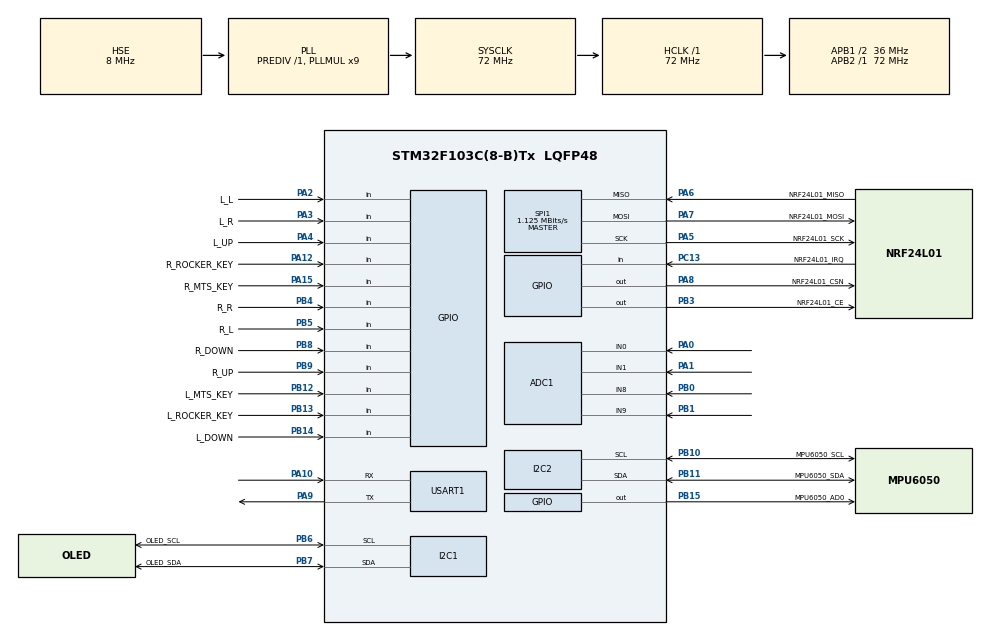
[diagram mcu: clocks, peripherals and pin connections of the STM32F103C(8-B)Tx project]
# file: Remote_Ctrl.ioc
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ADC1.Channel-1\#ChannelRegularConversion=ADC_CHANNEL_0
ADC1.Channel-2\#ChannelRegularConversion=ADC_CHANNEL_1
ADC1.Channel-3\#ChannelRegularConversion=ADC_CHANNEL_8
ADC1.Channel-4\#ChannelRegularConversion=ADC_CHANNEL_9
ADC1.ContinuousConvMode=DISABLE
ADC1.DataAlign=ADC_DATAALIGN_RIGHT
ADC1.DiscontinuousConvMode=DISABLE
ADC1.ExternalTrigConv=ADC_EXTERNALTRIGCONV_T3_TRGO
ADC1.NbrOfConversion=4
ADC1.NbrOfConversionFlag=1
ADC1.Rank-1\#ChannelRegularConversion=1
ADC1.Rank-2\#ChannelRegularConversion=2
ADC1.Rank-3\#ChannelRegularConversion=3
ADC1.Rank-4\#ChannelRegularConversion=4
ADC1.SamplingTime-1\#ChannelRegularConversion=ADC_SAMPLETIME_55CYCLES_5
ADC1.SamplingTime-2\#ChannelRegularConversion=ADC_SAMPLETIME_55CYCLES_5
ADC1.SamplingTime-3\#ChannelRegularConversion=ADC_SAMPLETIME_55CYCLES_5
ADC1.SamplingTime-4\#ChannelRegularConversion=ADC_SAMPLETIME_55CYCLES_5
ADC1.master=1
Dma.ADC1.0.Direction=DMA_PERIPH_TO_MEMORY
Dma.ADC1.0.Instance=DMA1_Channel1
Dma.ADC1.0.MemDataAlignment=DMA_MDATAALIGN_HALFWORD
Dma.ADC1.0.MemInc=DMA_MINC_ENABLE
Dma.ADC1.0.Mode=DMA_CIRCULAR
Dma.ADC1.0.PeriphDataAlignment=DMA_PDATAALIGN_HALFWORD
Dma.ADC1.0.PeriphInc=DMA_PINC_DISABLE
Dma.ADC1.0.Priority=DMA_PRIORITY_LOW
Dma.Request0=ADC1
FREERTOS.MEMORY_ALLOCATION=2
FREERTOS.Tasks01=defaultTask,0,128,StartDefaultTask,Default,NULL,Dynamic,NULL,NULL
FREERTOS.configTOTAL_HEAP_SIZE=4096
Mcu.Family=STM32F1
Mcu.Name=STM32F103C(8-B)Tx
Mcu.Package=LQFP48
NVIC.DMA1_Channel1_IRQn=true\:14\:0\:true\:false\:true\:true\:false\:true\:true
NVIC.PriorityGroup=NVIC_PRIORITYGROUP_4
NVIC.TIM4_IRQn=true\:15\:0\:false\:false\:true\:false\:false\:true\:true
NVIC.TimeBase=TIM4_IRQn
NVIC.TimeBaseIP=TIM4
NVIC.USART1_IRQn=true\:5\:0\:true\:false\:true\:true\:true\:true\:true
PA0-WKUP.Signal=ADCx_IN0
PA1.Signal=ADCx_IN1
PA10.Mode=Asynchronous
PA10.Signal=USART1_RX
PA12.GPIO_Label=R_ROCKER_KEY
PA12.GPIO_PuPd=GPIO_PULLUP
PA12.Signal=GPIO_Input
PA13.Mode=Serial_Wire
PA13.Signal=SYS_JTMS-SWDIO
PA14.Mode=Serial_Wire
PA14.Signal=SYS_JTCK-SWCLK
PA15.GPIO_Label=R_MTS_KEY
PA15.GPIO_PuPd=GPIO_PULLUP
PA15.Signal=GPIO_Input
PA2.GPIO_Label=L_L
PA2.GPIO_PuPd=GPIO_PULLUP
PA2.Signal=GPIO_Input
PA3.GPIO_Label=L_R
PA3.GPIO_PuPd=GPIO_PULLUP
PA3.Signal=GPIO_Input
PA4.GPIO_Label=L_UP
PA4.GPIO_PuPd=GPIO_PULLUP
PA4.Signal=GPIO_Input
PA5.GPIO_Label=NRF24L01_SCK
PA5.Mode=Full_Duplex_Master
PA5.Signal=SPI1_SCK
PA6.GPIO_Label=NRF24L01_MISO
PA6.Mode=Full_Duplex_Master
PA6.Signal=SPI1_MISO
PA7.GPIO_Label=NRF24L01_MOSI
PA7.Mode=Full_Duplex_Master
PA7.Signal=SPI1_MOSI
PA8.GPIO_Label=NRF24L01_CSN
PA8.Signal=GPIO_Output
PA9.Mode=Asynchronous
PA9.Signal=USART1_TX
PB0.Signal=ADCx_IN8
PB1.Signal=ADCx_IN9
PB10.GPIO_Label=MPU6050_SCL
PB10.Mode=I2C
PB10.Signal=I2C2_SCL
PB11.GPIO_Label=MPU6050_SDA
PB11.Mode=I2C
PB11.Signal=I2C2_SDA
PB12.GPIO_Label=L_MTS_KEY
PB12.GPIO_PuPd=GPIO_PULLUP
PB12.Signal=GPIO_Input
PB13.GPIO_Label=L_ROCKER_KEY
PB13.GPIO_PuPd=GPIO_PULLUP
PB13.Signal=GPIO_Input
PB14.GPIO_Label=L_DOWN
PB14.GPIO_PuPd=GPIO_PULLUP
PB14.Signal=GPIO_Input
PB15.GPIO_Label=MPU6050_AD0
PB15.Signal=GPIO_Output
PB3.GPIO_Label=NRF24L01_CE
PB3.Signal=GPIO_Output
PB4.GPIO_Label=R_R
PB4.GPIO_PuPd=GPIO_PULLUP
PB4.Signal=GPIO_Input
PB5.GPIO_Label=R_L
PB5.GPIO_PuPd=GPIO_PULLUP
PB5.Signal=GPIO_Input
PB6.GPIO_Label=OLED_SCL
PB6.Mode=I2C
PB6.Signal=I2C1_SCL
PB7.GPIO_Label=OLED_SDA
PB7.Mode=I2C
PB7.Signal=I2C1_SDA
PB8.GPIO_Label=R_DOWN
PB8.GPIO_PuPd=GPIO_PULLUP
PB8.Signal=GPIO_Input
PB9.GPIO_Label=R_UP
PB9.GPIO_PuPd=GPIO_PULLUP
PB9.Signal=GPIO_Input
PC13-TAMPER-RTC.GPIO_Label=NRF24L01_IRQ
PC13-TAMPER-RTC.GPIO_PuPd=GPIO_PULLUP
PC13-TAMPER-RTC.Signal=GPIO_Input
PD0-OSC_IN.Mode=HSE-External-Oscillator
PD0-OSC_IN.Signal=RCC_OSC_IN
PD1-OSC_OUT.Mode=HSE-External-Oscillator
PD1-OSC_OUT.Signal=RCC_OSC_OUT
ProjectManager.HeapSize=0x200
ProjectManager.StackSize=0x600
ProjectManager.TargetToolchain=MDK-ARM V5
RCC.ADCPresc=RCC_ADCPCLK2_DIV6
RCC.AHBFreq_Value=72000000
RCC.APB1CLKDivider=RCC_HCLK_DIV2
RCC.APB1Freq_Value=36000000
RCC.APB1TimFreq_Value=72000000
RCC.APB2Freq_Value=72000000
RCC.APB2TimFreq_Value=72000000
RCC.HCLKFreq_Value=72000000
RCC.PLLMUL=RCC_PLL_MUL9
RCC.PLLSourceVirtual=RCC_PLLSOURCE_HSE
RCC.SYSCLKFreq_VALUE=72000000
RCC.SYSCLKSource=RCC_SYSCLKSOURCE_PLLCLK
RCC.USBFreq_Value=48000000
RCC.USBPrescaler=RCC_USBCLKSOURCE_PLL_DIV1_5
SH.ADCx_IN0.0=ADC1_IN0,IN0
SH.ADCx_IN1.0=ADC1_IN1,IN1
SH.ADCx_IN8.0=ADC1_IN8,IN8
SH.ADCx_IN9.0=ADC1_IN9,IN9
SPI1.BaudRatePrescaler=SPI_BAUDRATEPRESCALER_64
SPI1.CalculateBaudRate=1.125 MBits/s
SPI1.Direction=SPI_DIRECTION_2LINES
SPI1.Mode=SPI_MODE_MASTER
SPI1.VirtualType=VM_MASTER
TIM3.AutoReloadPreload=TIM_AUTORELOAD_PRELOAD_ENABLE
TIM3.Period=10-1
TIM3.Prescaler=72-1
TIM3.TIM_MasterOutputTrigger=TIM_TRGO_UPDATE
USART1.VirtualMode=VM_ASYNC
VP_FREERTOS_VS_CMSIS_V1.Mode=CMSIS_V1
VP_SYS_VS_tim4.Mode=TIM4
VP_TIM3_VS_ClockSourceINT.Mode=Internal
board=custom

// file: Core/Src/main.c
/* USER CODE BEGIN Header */
/**
  ******************************************************************************
  * @file           : main.c
  * @brief          : Main program body
  ******************************************************************************
  * @attention
  *
  * Copyright (c) 2023 STMicroelectronics.
  * All rights reserved.
  *
  * This software is licensed under terms that can be found in the LICENSE file
  * in the root directory of this software component.
  * If no LICENSE file comes with this software, it is provided AS-IS.
  *
  ******************************************************************************
  */
/* USER CODE END Header */
#include "main.h"
#include "cmsis_os.h"
#include "adc.h"
#include "dma.h"
#include "i2c.h"
#include "spi.h"
#include "tim.h"
#include "usart.h"
#include "gpio.h"

/* USER CODE BEGIN Includes */
#include "My_Task.h"

/* USER CODE END Includes */

/* USER CODE BEGIN PD */
uint8_t u8g2_gpio_and_delay_stm32(U8X8_UNUSED u8x8_t *u8x8, U8X8_UNUSED uint8_t msg, U8X8_UNUSED uint8_t arg_int, U8X8_UNUSED void *arg_ptr);
uint8_t u8x8_byte_i2c(u8x8_t *u8x8, uint8_t msg, uint8_t arg_int, void *arg_ptr);
void draw(u8g2_t *u8g2);
/* USER CODE END PD */

void SystemClock_Config(void);
void MX_FREERTOS_Init(void);

int main(void)
{

  /* MCU Configuration--------------------------------------------------------*/

  /* Reset of all peripherals, Initializes the Flash interface and the Systick. */
  HAL_Init();

  /* Configure the system clock */
  SystemClock_Config();

  /* Initialize all configured peripherals */
  MX_GPIO_Init();
  MX_DMA_Init();
  MX_USART1_UART_Init();
  MX_I2C1_Init();
  MX_I2C2_Init();
  MX_SPI1_Init();
  MX_ADC1_Init();
  MX_TIM3_Init();
  /* USER CODE BEGIN 2 */
	HAL_UART_Receive_IT(&huart1,(uint8_t *)RxBuffer,1);//开启串口1接收中断

	HAL_TIM_Base_Start(&htim3);												 //定时器触发ADC
	HAL_ADCEx_Calibration_Start(&hadc1);							 //校准ADC
	HAL_ADC_Start_DMA(&hadc1,(uint32_t *)ADC_Buff,4);  //开启DMA

	MPU_Init();			  //MPU6050初始化
  mpu_dmp_init();		//dmp初始化

	u8g2_Setup_ssd1306_i2c_128x64_noname_f(&u8g2, U8G2_R0, u8x8_byte_i2c, u8g2_gpio_and_delay_stm32);
	u8g2_InitDisplay(&u8g2); 		 // send init sequence to the display, display is in sleep mode after this,
	u8g2_SetPowerSave(&u8g2, 0); // wake up display
	u8g2_ClearBuffer(&u8g2);

	draw(&u8g2);		//画U8G2库LOGO
	u8g2_ClearBuffer(&u8g2);
	u8g2_SetFont(&u8g2,u8g2_font_ncenB08_tr);//设置U8G2显示字体

	while(NRF24L01_Check())//开机自检2.4G模块
	{
		u8g2_ClearBuffer(&u8g2);
		u8g2_DrawUTF8(&u8g2,0,32,"NRF24L01 NOT EXIST");
		u8g2_SendBuffer(&u8g2);
		HAL_Delay(200);
	}
	NRF24L01_TX_Mode();//设置为发送模式

  /* USER CODE END 2 */

  /* Call init function for freertos objects (in cmsis_os2.c) */
  MX_FREERTOS_Init();

  /* Start scheduler */
  osKernelStart();

  /* We should never get here as control is now taken by the scheduler */

  /* Infinite loop */
  while (1)
  {

  }
}

void SystemClock_Config(void)
{
  RCC_OscInitTypeDef RCC_OscInitStruct = {0};
  RCC_ClkInitTypeDef RCC_ClkInitStruct = {0};
  RCC_PeriphCLKInitTypeDef PeriphClkInit = {0};

  /** Initializes the RCC Oscillators according to the specified parameters
  * in the RCC_OscInitTypeDef structure.
  */
  RCC_OscInitStruct.OscillatorType = RCC_OSCILLATORTYPE_HSE;
  RCC_OscInitStruct.HSEState = RCC_HSE_ON;
  RCC_OscInitStruct.HSEPredivValue = RCC_HSE_PREDIV_DIV1;
  RCC_OscInitStruct.HSIState = RCC_HSI_ON;
  RCC_OscInitStruct.PLL.PLLState = RCC_PLL_ON;
  RCC_OscInitStruct.PLL.PLLSource = RCC_PLLSOURCE_HSE;
  RCC_OscInitStruct.PLL.PLLMUL = RCC_PLL_MUL9;
  if (HAL_RCC_OscConfig(&RCC_OscInitStruct) != HAL_OK)
  {
    Error_Handler();
  }

  /** Initializes the CPU, AHB and APB buses clocks
  */
  RCC_ClkInitStruct.ClockType = RCC_CLOCKTYPE_HCLK|RCC_CLOCKTYPE_SYSCLK
                              |RCC_CLOCKTYPE_PCLK1|RCC_CLOCKTYPE_PCLK2;
  RCC_ClkInitStruct.SYSCLKSource = RCC_SYSCLKSOURCE_PLLCLK;
  RCC_ClkInitStruct.AHBCLKDivider = RCC_SYSCLK_DIV1;
  RCC_ClkInitStruct.APB1CLKDivider = RCC_HCLK_DIV2;
  RCC_ClkInitStruct.APB2CLKDivider = RCC_HCLK_DIV1;

  if (HAL_RCC_ClockConfig(&RCC_ClkInitStruct, FLASH_LATENCY_2) != HAL_OK)
  {
    Error_Handler();
  }
  PeriphClkInit.PeriphClockSelection = RCC_PERIPHCLK_ADC;
  PeriphClkInit.AdcClockSelection = RCC_ADCPCLK2_DIV6;
  if (HAL_RCCEx_PeriphCLKConfig(&PeriphClkInit) != HAL_OK)
  {
    Error_Handler();
  }
}

/* USER CODE BEGIN 4 */

/**
  *@breif      IO口和延时初始化
  *@param      none
  *@retval     none
  */
uint8_t u8g2_gpio_and_delay_stm32(U8X8_UNUSED u8x8_t *u8x8, U8X8_UNUSED uint8_t msg, U8X8_UNUSED uint8_t arg_int, U8X8_UNUSED void *arg_ptr)
{
	switch(msg)
		{
			//Function which implements a delay, arg_int contains the amount of ms
			case U8X8_MSG_DELAY_MILLI:
			{
				HAL_Delay(arg_int);
				break;
			}
			//Function which delays 10us
			case U8X8_MSG_DELAY_10MICRO:
			{
				for(uint16_t n=0;n<320;n++)
				{
					__NOP();
				}
				break;
			}
			//Function which delays 100ns
			case U8X8_MSG_DELAY_100NANO:
			{
				__NOP();
				break;
			}
			default:
				return 0; //A message was received which is not implemented, return 0 to indicate an error
	}
	return 1; // command processed successfully.
}

/**
  *@breif      硬件I2C
  *@param      none
  *@retval     none
  */
uint8_t u8x8_byte_i2c(u8x8_t *u8x8, uint8_t msg, uint8_t arg_int, void *arg_ptr)
{
  static uint8_t buffer[32];		/* u8g2/u8x8 will never send more than 32 bytes between START_TRANSFER and END_TRANSFER */
  static uint8_t buf_idx;
  uint8_t *data;

  switch(msg)
  {
    case U8X8_MSG_BYTE_SEND:
      data = (uint8_t *)arg_ptr;
      while( arg_int > 0 )
      {
				buffer[buf_idx++] = *data;
				data++;
				arg_int--;
      }
      break;
    case U8X8_MSG_BYTE_INIT:
      /* add your custom code to init i2c subsystem */
      break;
    case U8X8_MSG_BYTE_SET_DC:
      /* ignored for i2c */
      break;
    case U8X8_MSG_BYTE_START_TRANSFER:
      buf_idx = 0;
      break;
    case U8X8_MSG_BYTE_END_TRANSFER:
			HAL_I2C_Master_Transmit(&hi2c1,u8x8_GetI2CAddress(u8x8),buffer,buf_idx,1000);
      break;
    default:
      return 0;
  }
  return 1;
}

/**
  *@breif      画U8g2库的logo
  *@param      none
  *@retval     none
  */
void draw(u8g2_t *u8g2)
{
		u8g2_ClearBuffer(u8g2);
    u8g2_SetFontMode(u8g2, 1);
    u8g2_SetFontDirection(u8g2, 0);
    u8g2_SetFont(u8g2, u8g2_font_inb24_mf);
    u8g2_DrawStr(u8g2, 0, 20, "U");

    u8g2_SetFontDirection(u8g2, 1);
    u8g2_SetFont(u8g2, u8g2_font_inb30_mn);
    u8g2_DrawStr(u8g2, 21,8,"8");

    u8g2_SetFontDirection(u8g2, 0);
    u8g2_SetFont(u8g2, u8g2_font_inb24_mf);
    u8g2_DrawStr(u8g2, 51,30,"g");
    u8g2_DrawStr(u8g2, 67,30,"\xb2");

    u8g2_DrawHLine(u8g2, 2, 35, 47);
    u8g2_DrawHLine(u8g2, 3, 36, 47);
    u8g2_DrawVLine(u8g2, 45, 32, 12);
    u8g2_DrawVLine(u8g2, 46, 33, 12);

    u8g2_SetFont(u8g2, u8g2_font_4x6_tr);
    u8g2_DrawStr(u8g2, 1,54,"github.com/olikraus/u8g2");

	u8g2_SendBuffer(u8g2);
	HAL_Delay(1000);
}

/* USER CODE END 4 */

void HAL_TIM_PeriodElapsedCallback(TIM_HandleTypeDef *htim)
{
  if (htim->Instance == TIM4) {
    HAL_IncTick();
  }
}

void Error_Handler(void)
{
  __disable_irq();
  while (1)
  {
  }
}

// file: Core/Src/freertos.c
/* USER CODE BEGIN Header */
/**
  ******************************************************************************
  * File Name          : freertos.c
  * Description        : Code for freertos applications
  ******************************************************************************
  * @attention
  *
  * Copyright (c) 2024 STMicroelectronics.
  * All rights reserved.
  *
  * This software is licensed under terms that can be found in the LICENSE file
  * in the root directory of this software component.
  * If no LICENSE file comes with this software, it is provided AS-IS.
  *
  ******************************************************************************
  */
/* USER CODE END Header */

#include "FreeRTOS.h"
#include "task.h"
#include "main.h"
#include "cmsis_os.h"

/* USER CODE BEGIN Includes */
#include "My_Task.h"
/* USER CODE END Includes */

osThreadId defaultTaskHandle;

void StartDefaultTask(void const * argument);

void MX_FREERTOS_Init(void); /* (MISRA C 2004 rule 8.1) */

/* GetIdleTaskMemory prototype (linked to static allocation support) */
void vApplicationGetIdleTaskMemory( StaticTask_t **ppxIdleTaskTCBBuffer, StackType_t **ppxIdleTaskStackBuffer, uint32_t *pulIdleTaskStackSize );

/* USER CODE BEGIN GET_IDLE_TASK_MEMORY */
static StaticTask_t xIdleTaskTCBBuffer;
static StackType_t xIdleStack[configMINIMAL_STACK_SIZE];

void vApplicationGetIdleTaskMemory( StaticTask_t **ppxIdleTaskTCBBuffer, StackType_t **ppxIdleTaskStackBuffer, uint32_t *pulIdleTaskStackSize )
{
  *ppxIdleTaskTCBBuffer = &xIdleTaskTCBBuffer;
  *ppxIdleTaskStackBuffer = &xIdleStack[0];
  *pulIdleTaskStackSize = configMINIMAL_STACK_SIZE;
  /* place for user code */
}
/* USER CODE END GET_IDLE_TASK_MEMORY */

void MX_FREERTOS_Init(void) {

  /* Create the thread(s) */
  /* definition and creation of defaultTask */
  // osThreadDef(defaultTask, StartDefaultTask, osPriorityNormal, 0, 128);
  // defaultTaskHandle = osThreadCreate(osThread(defaultTask), NULL);

  /* USER CODE BEGIN RTOS_THREADS */
  /* add threads, ... */
  freertos_start();
  /* USER CODE END RTOS_THREADS */

}

void StartDefaultTask(void const * argument)
{
  for(;;)
  {
    osDelay(1);
  }
}
